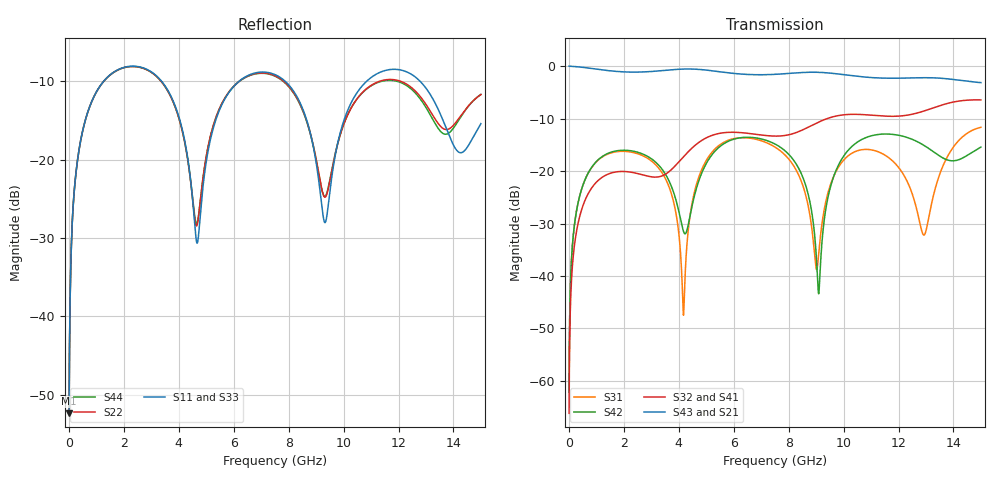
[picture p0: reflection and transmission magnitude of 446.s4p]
! Created with skrf 1.8.0 (http://scikit-rf.org).
# GHz S RI R 50.0
!freq ReS11 ImS11 ReS12 ImS12 ReS13 ImS13
! ReS14 ImS14
! ReS21 ImS21 ReS22 ImS22 ReS23 ImS23
! ReS24 ImS24
! ReS31 ImS31 ReS32 ImS32 ReS33 ImS33
! ReS34 ImS34
! ReS41 ImS41 ReS42 ImS42 ReS43 ImS43
! ReS44 ImS44
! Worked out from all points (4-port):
!   2499 points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, 5 MHz to 15 GHz, reference 50 ohm
!   strongest paths, dB at 5 MHz, 3.476 GHz, 7.19 GHz, 11.1 GHz, 15 GHz:
!     S43: 0.0, -0.8, -1.6, -2.2, -3.2
!     S21: 0.0, -0.8, -1.6, -2.2, -3.1
!     S32: -66.2, -20.7, -13.2, -9.4, -6.4
!     S41: -66.2, -20.7, -13.3, -9.4, -6.4
!     S42: -62.2, -20.3, -14.2, -13.2, -15.4
!     S31: -62.2, -21.1, -14.6, -16.1, -11.7
!   lowest |S11| = -52.3 dB at 5 MHz (marker M1), VSWR 1.00, Z = 50.2 + j0.147 ohm
!   |S11| at or under -10 dB: 3.369 GHz to 6.199 GHz (2.83 GHz wide, 59.2 % of centre); 7.867 GHz to 10.84 GHz (2.977 GHz wide, 31.8 % of centre); 12.78 GHz to end of sweep (the widest 3 of 4)
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0.005  0.00192 0.00146  0.998 -0.00374  9.78e-05 0.000771  -9.49e-05 -0.000482
       0.998 -0.00374  0.00192 0.00146  -9.49e-05 -0.000482  9.79e-05 0.00077
       9.78e-05 0.000771  -9.49e-05 -0.000482  0.00192 0.00146  0.998 -0.00374
       -9.49e-05 -0.000482  9.79e-05 0.00077  0.998 -0.00374  0.00192 0.00146
0.3126303  0.0316 0.0945  0.9568 -0.2312  0.0146 0.0449  -0.0124 -0.0274
           0.9568 -0.2312  0.0315 0.0945  -0.0124 -0.0274  0.0152 0.0447
           0.0146 0.0449  -0.0124 -0.0274  0.0316 0.0945  0.9568 -0.2312
           -0.0124 -0.0274  0.0152 0.0447  0.9568 -0.2312  0.0315 0.0945
1.369321  0.2825 0.1725  0.5246 -0.7427  0.1293 0.0622  -0.0921 -0.00223
          0.5246 -0.7427  0.2805 0.1739  -0.0921 -0.00223  0.1348 0.0542
          0.1293 0.0622  -0.0921 -0.00223  0.2825 0.1725  0.5246 -0.7426
          -0.0921 -0.00223  0.1348 0.0542  0.5246 -0.7426  0.2806 0.1739
4.170488  0.069 -0.1261  -0.8566 -0.3791  0.00405 0.00119  -0.0511 0.127
          -0.8566 -0.3791  0.0757 -0.1181  -0.0512 0.1269  -0.0231 -0.0132
          0.00405 0.00119  -0.0512 0.1269  0.0684 -0.127  -0.8564 -0.3793
          -0.0511 0.127  -0.0231 -0.0132  -0.8564 -0.3793  0.0767 -0.1183
5.52105  0.1547 0.1493  -0.7599 0.4442  0.141 0.1116  0.1518 0.1718
         -0.7599 0.4442  0.1618 0.1483  0.1518 0.1721  0.1316 0.1128
         0.141 0.1116  0.1518 0.1721  0.1525 0.1491  -0.7604 0.444
         0.1518 0.1718  0.1316 0.1128  -0.7604 0.444  0.1624 0.1462
9.416424  0.0418 0.0218  0.8568 0.09  0.00887 0.0593  0.0218 -0.3161
          0.8568 0.09  0.0595 0.0188  0.0219 -0.3163  0.0237 0.0482
          0.00887 0.0593  0.0219 -0.3163  0.0401 0.023  0.8569 0.0895
          0.0218 -0.3161  0.0237 0.0482  0.8569 0.0895  0.0605 0.0197
15  0.1602 0.0551  -0.6508 0.2488  0.2064 0.1596  0.225 0.4202
    -0.6508 0.2488  0.2526 0.0596  0.2245 0.4196  0.1235 0.1155
    0.2064 0.1596  0.2245 0.4196  0.1672 0.0608  -0.6487 0.2514
    0.225 0.4202  0.1235 0.1155  -0.6487 0.2514  0.2514 0.0676
